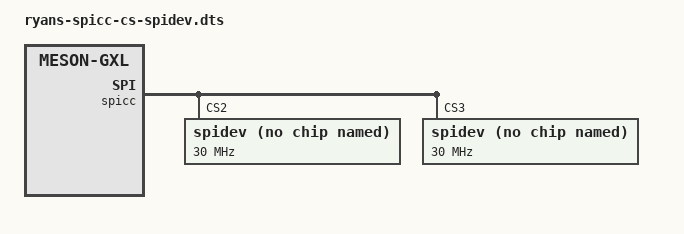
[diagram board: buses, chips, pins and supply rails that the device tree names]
/*
 * Overlay aimed to enable a spidev interface on SPICC bus with two CS PINS 38, 40
 */

/dts-v1/;
/plugin/;

/ {
	compatible = "libretech,cc", "amlogic,s905x", "amlogic,meson-gxl";

	fragment@0 {
		target = <&spicc>;
		
		__overlay__ {
			
			spidev@2 {
				compatible = "rohm,dh2228fv";
				reg = <2>;
				spi-max-frequency = <30000000>;
			};
			spidev@3 {
				compatible = "rohm,dh2228fv";
				reg = <3>;
				spi-max-frequency = <30000000>;
			};
			
		};
	};
};
